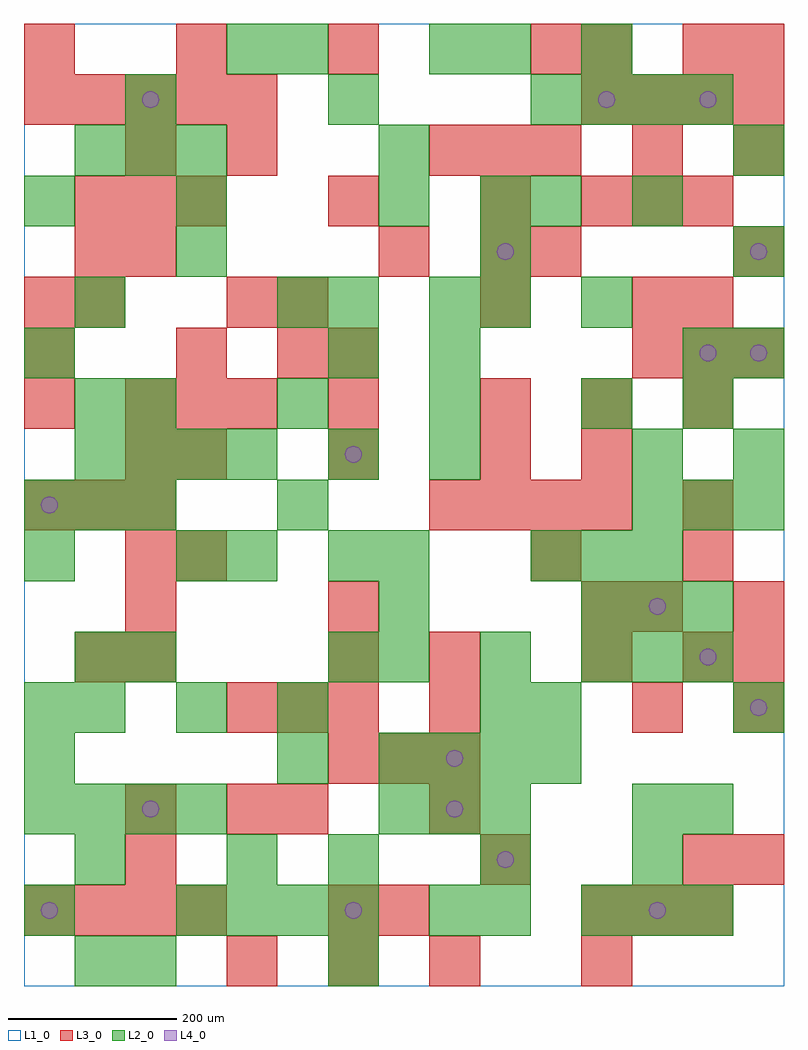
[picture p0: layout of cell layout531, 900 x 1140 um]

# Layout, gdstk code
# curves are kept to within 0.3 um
import gdstk
lib = gdstk.Library(unit=1e-6, precision=1e-09)
def R(c, l, rs):  # rectangles x0, y0, x1, y1
    for r in rs: c.add(gdstk.rectangle(r[:2], r[2:], *l))
def A(c, l, x, y, w, h, nx, ny, dx, dy):  # array of equal rectangles
    R(c, l, [(x+i*dx, y+j*dy, x+i*dx+w, y+j*dy+h) for i in range(nx) for j in range(ny)])
def P(c, l, *ps):  # polygons
    for p in ps: c.add(gdstk.Polygon(p, *l))
L1_0 = (1, 0)
L2_0 = (2, 0)
L3_0 = (3, 0)
L4_0 = (4, 0)

layout531 = lib.new_cell('layout531')
R(layout531, L1_0, [(0,0,900,1140)])
A(layout531, L2_0, 180, 60, 60, 60, 4, 1, 60, 0)
A(layout531, L2_0, 660, 60, 60, 60, 3, 2, 60, 360)
A(layout531, L2_0, 360, 120, 60, 60, 3, 1, 180, 0)
A(layout531, L2_0, 0, 180, 60, 60, 4, 1, 60, 0)
A(layout531, L2_0, 420, 180, 60, 60, 3, 1, 60, 0)
A(layout531, L2_0, 420, 240, 60, 60, 4, 1, 60, 0)
A(layout531, L2_0, 60, 300, 60, 60, 3, 1, 120, 0)
A(layout531, L2_0, 360, 360, 60, 60, 1, 4, 0, 120)
A(layout531, L2_0, 420, 360, 60, 60, 3, 1, 120, 0)
A(layout531, L2_0, 600, 480, 60, 60, 3, 1, 60, 0)
A(layout531, L2_0, 0, 540, 60, 60, 3, 1, 60, 0)
A(layout531, L2_0, 720, 540, 60, 60, 3, 1, 60, 0)
A(layout531, L2_0, 60, 600, 60, 60, 4, 1, 60, 0)
A(layout531, L2_0, 840, 600, 60, 60, 1, 4, 0, 120)
A(layout531, L2_0, 120, 660, 60, 60, 4, 1, 180, 0)
A(layout531, L2_0, 540, 780, 60, 60, 1, 3, 0, 60)
A(layout531, L2_0, 60, 960, 60, 60, 3, 1, 60, 0)
A(layout531, L2_0, 120, 1020, 60, 60, 3, 1, 240, 0)
A(layout531, L2_0, 660, 1020, 60, 60, 3, 1, 60, 0)
R(layout531, L2_0, [(60,0,120,60), (120,0,180,60), (360,0,420,60), (0,60,60,120), (480,60,540,120), (540,60,600,120), (60,120,120,180), (240,120,300,180), (720,180,780,240), (780,180,840,240), (0,240,60,300), (300,240,360,300), (0,300,60,360), (540,300,600,360), (600,300,660,360), (840,300,900,360), (60,360,120,420), (120,360,180,420), (720,360,780,420), (780,360,840,420), (420,420,480,480), (0,480,60,540), (180,480,240,540), (240,480,300,540), (420,480,480,540), (300,540,360,600), (480,600,540,660), (720,600,780,660), (60,660,120,720), (780,660,840,720), (0,720,60,780), (480,720,540,780), (780,720,840,780), (60,780,120,840), (300,780,360,840), (360,780,420,840), (480,780,540,840), (660,780,720,840), (180,840,240,900), (0,900,60,960), (180,900,240,960), (420,900,480,960), (600,900,660,960), (720,900,780,960), (420,960,480,1020), (240,1080,300,1140), (300,1080,360,1140), (480,1080,540,1140), (540,1080,600,1140), (660,1080,720,1140)])
A(layout531, L3_0, 240, 0, 60, 60, 3, 1, 120, 0)
A(layout531, L3_0, 0, 60, 60, 60, 4, 1, 60, 0)
A(layout531, L3_0, 660, 60, 60, 60, 3, 2, 60, 840)
A(layout531, L3_0, 360, 240, 60, 60, 3, 1, 60, 0)
A(layout531, L3_0, 240, 300, 60, 60, 3, 1, 60, 0)
A(layout531, L3_0, 840, 300, 60, 60, 1, 3, 0, 60)
A(layout531, L3_0, 120, 360, 60, 60, 1, 3, 0, 60)
A(layout531, L3_0, 0, 540, 60, 60, 3, 1, 60, 0)
A(layout531, L3_0, 480, 540, 60, 60, 4, 1, 60, 0)
A(layout531, L3_0, 180, 600, 60, 60, 3, 1, 180, 0)
A(layout531, L3_0, 0, 660, 60, 60, 1, 3, 0, 60)
A(layout531, L3_0, 120, 660, 60, 60, 3, 1, 60, 0)
A(layout531, L3_0, 540, 660, 60, 60, 3, 1, 120, 0)
A(layout531, L3_0, 720, 720, 60, 60, 3, 1, 60, 0)
A(layout531, L3_0, 540, 780, 60, 60, 1, 3, 0, 60)
A(layout531, L3_0, 840, 840, 60, 60, 1, 3, 0, 120)
A(layout531, L3_0, 60, 900, 60, 60, 3, 1, 60, 0)
A(layout531, L3_0, 480, 960, 60, 60, 3, 1, 60, 0)
A(layout531, L3_0, 0, 1020, 60, 60, 5, 1, 60, 0)
A(layout531, L3_0, 660, 1020, 60, 60, 4, 1, 60, 0)
A(layout531, L3_0, 0, 1080, 60, 60, 3, 1, 180, 0)
R(layout531, L3_0, [(660,0,720,60), (360,60,420,120), (420,60,480,120), (120,120,180,180), (540,120,600,180), (780,120,840,180), (840,120,900,180), (120,180,180,240), (240,180,300,240), (300,180,360,240), (480,180,540,240), (480,300,540,360), (720,300,780,360), (60,360,120,420), (360,360,420,420), (480,360,540,420), (660,360,720,420), (780,360,840,420), (360,420,420,480), (660,420,720,480), (720,420,780,480), (180,480,240,540), (600,480,660,540), (780,480,840,540), (780,540,840,600), (120,600,180,660), (660,600,720,660), (360,660,420,720), (180,720,240,780), (300,720,360,780), (360,720,420,780), (60,780,120,840), (240,780,300,840), (300,780,360,840), (720,780,780,840), (780,780,840,840), (60,840,120,900), (120,840,180,900), (420,840,480,900), (600,840,660,900), (360,900,420,960), (120,960,180,1020), (240,960,300,1020), (720,960,780,1020), (600,1080,660,1140), (660,1080,720,1140), (780,1080,840,1140)])
P(layout531, L4_0, [(40,90),(39.239,93.827),(37.071,97.071),(33.827,99.239),(30,100),(26.173,99.239),(22.929,97.071),(20.761,93.827),(20,90),(20.761,86.173),(22.929,82.929),(26.173,80.761),(30,80),(33.827,80.761),(37.071,82.929),(39.239,86.173)],
  [(40,570),(39.239,573.827),(37.071,577.071),(33.827,579.239),(30,580),(26.173,579.239),(22.929,577.071),(20.761,573.827),(20,570),(20.761,566.173),(22.929,562.929),(26.173,560.761),(30,560),(33.827,560.761),(37.071,562.929),(39.239,566.173)],
  [(160,210),(159.239,213.827),(157.071,217.071),(153.827,219.239),(150,220),(146.173,219.239),(142.929,217.071),(140.761,213.827),(140,210),(140.761,206.173),(142.929,202.929),(146.173,200.761),(150,200),(153.827,200.761),(157.071,202.929),(159.239,206.173)],
  [(160,1050),(159.239,1053.827),(157.071,1057.071),(153.827,1059.239),(150,1060),(146.173,1059.239),(142.929,1057.071),(140.761,1053.827),(140,1050),(140.761,1046.173),(142.929,1042.929),(146.173,1040.761),(150,1040),(153.827,1040.761),(157.071,1042.929),(159.239,1046.173)],
  [(400,90),(399.239,93.827),(397.071,97.071),(393.827,99.239),(390,100),(386.173,99.239),(382.929,97.071),(380.761,93.827),(380,90),(380.761,86.173),(382.929,82.929),(386.173,80.761),(390,80),(393.827,80.761),(397.071,82.929),(399.239,86.173)],
  [(400,630),(399.239,633.827),(397.071,637.071),(393.827,639.239),(390,640),(386.173,639.239),(382.929,637.071),(380.761,633.827),(380,630),(380.761,626.173),(382.929,622.929),(386.173,620.761),(390,620),(393.827,620.761),(397.071,622.929),(399.239,626.173)],
  [(520,210),(519.239,213.827),(517.071,217.071),(513.827,219.239),(510,220),(506.173,219.239),(502.929,217.071),(500.761,213.827),(500,210),(500.761,206.173),(502.929,202.929),(506.173,200.761),(510,200),(513.827,200.761),(517.071,202.929),(519.239,206.173)],
  [(520,270),(519.239,273.827),(517.071,277.071),(513.827,279.239),(510,280),(506.173,279.239),(502.929,277.071),(500.761,273.827),(500,270),(500.761,266.173),(502.929,262.929),(506.173,260.761),(510,260),(513.827,260.761),(517.071,262.929),(519.239,266.173)],
  [(580,150),(579.239,153.827),(577.071,157.071),(573.827,159.239),(570,160),(566.173,159.239),(562.929,157.071),(560.761,153.827),(560,150),(560.761,146.173),(562.929,142.929),(566.173,140.761),(570,140),(573.827,140.761),(577.071,142.929),(579.239,146.173)],
  [(580,870),(579.239,873.827),(577.071,877.071),(573.827,879.239),(570,880),(566.173,879.239),(562.929,877.071),(560.761,873.827),(560,870),(560.761,866.173),(562.929,862.929),(566.173,860.761),(570,860),(573.827,860.761),(577.071,862.929),(579.239,866.173)],
  [(700,1050),(699.239,1053.827),(697.071,1057.071),(693.827,1059.239),(690,1060),(686.173,1059.239),(682.929,1057.071),(680.761,1053.827),(680,1050),(680.761,1046.173),(682.929,1042.929),(686.173,1040.761),(690,1040),(693.827,1040.761),(697.071,1042.929),(699.239,1046.173)],
  [(760,90),(759.239,93.827),(757.071,97.071),(753.827,99.239),(750,100),(746.173,99.239),(742.929,97.071),(740.761,93.827),(740,90),(740.761,86.173),(742.929,82.929),(746.173,80.761),(750,80),(753.827,80.761),(757.071,82.929),(759.239,86.173)],
  [(760,450),(759.239,453.827),(757.071,457.071),(753.827,459.239),(750,460),(746.173,459.239),(742.929,457.071),(740.761,453.827),(740,450),(740.761,446.173),(742.929,442.929),(746.173,440.761),(750,440),(753.827,440.761),(757.071,442.929),(759.239,446.173)],
  [(820,390),(819.239,393.827),(817.071,397.071),(813.827,399.239),(810,400),(806.173,399.239),(802.929,397.071),(800.761,393.827),(800,390),(800.761,386.173),(802.929,382.929),(806.173,380.761),(810,380),(813.827,380.761),(817.071,382.929),(819.239,386.173)],
  [(820,750),(819.239,753.827),(817.071,757.071),(813.827,759.239),(810,760),(806.173,759.239),(802.929,757.071),(800.761,753.827),(800,750),(800.761,746.173),(802.929,742.929),(806.173,740.761),(810,740),(813.827,740.761),(817.071,742.929),(819.239,746.173)],
  [(820,1050),(819.239,1053.827),(817.071,1057.071),(813.827,1059.239),(810,1060),(806.173,1059.239),(802.929,1057.071),(800.761,1053.827),(800,1050),(800.761,1046.173),(802.929,1042.929),(806.173,1040.761),(810,1040),(813.827,1040.761),(817.071,1042.929),(819.239,1046.173)],
  [(880,330),(879.239,333.827),(877.071,337.071),(873.827,339.239),(870,340),(866.173,339.239),(862.929,337.071),(860.761,333.827),(860,330),(860.761,326.173),(862.929,322.929),(866.173,320.761),(870,320),(873.827,320.761),(877.071,322.929),(879.239,326.173)],
  [(880,750),(879.239,753.827),(877.071,757.071),(873.827,759.239),(870,760),(866.173,759.239),(862.929,757.071),(860.761,753.827),(860,750),(860.761,746.173),(862.929,742.929),(866.173,740.761),(870,740),(873.827,740.761),(877.071,742.929),(879.239,746.173)],
  [(880,870),(879.239,873.827),(877.071,877.071),(873.827,879.239),(870,880),(866.173,879.239),(862.929,877.071),(860.761,873.827),(860,870),(860.761,866.173),(862.929,862.929),(866.173,860.761),(870,860),(873.827,860.761),(877.071,862.929),(879.239,866.173)])

lib.write_gds('layout531.gds')
